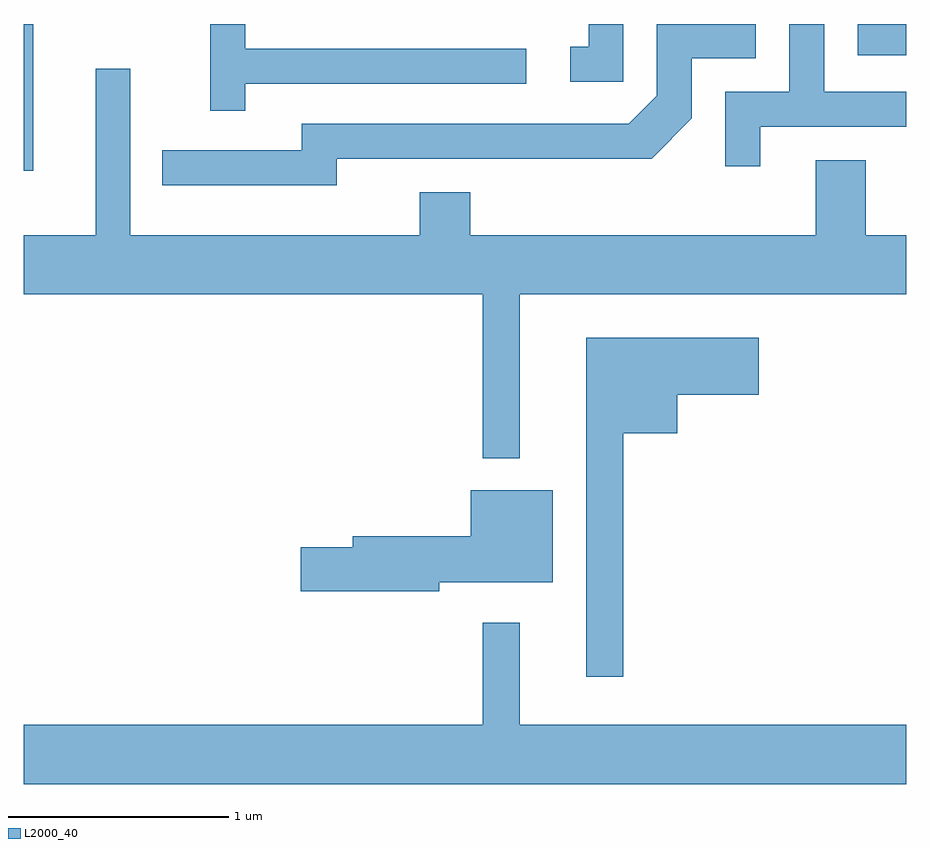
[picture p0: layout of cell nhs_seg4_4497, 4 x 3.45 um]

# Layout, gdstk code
import gdstk
lib = gdstk.Library(unit=1e-6, precision=1e-09)
def R(c, l, rs):  # rectangles x0, y0, x1, y1
    for r in rs: c.add(gdstk.rectangle(r[:2], r[2:], *l))
def P(c, l, *ps):  # polygons
    for p in ps: c.add(gdstk.Polygon(p, *l))
L2000_40 = (2000, 40)

nhs_seg4_4497 = lib.new_cell('nhs_seg4_4497')
R(nhs_seg4_4497, L2000_40, [(317.611,1275.316,317.654,1275.982), (321.391,1275.841,321.611,1275.982)])
P(nhs_seg4_4497, L2000_40, [(319.029,1275.371),(320.457,1275.371),(320.639,1275.554),(320.639,1275.826),(320.929,1275.826),(320.929,1275.982),(320.481,1275.982),(320.481,1275.657),(320.354,1275.529),(318.871,1275.529),(318.871,1275.409),(318.238,1275.409),(318.238,1275.251),(319.029,1275.251)],
  [(320.329,1275.982),(320.171,1275.982),(320.171,1275.879),(320.088,1275.879),(320.088,1275.721),(320.329,1275.721)],
  [(318.614,1275.711),(319.888,1275.711),(319.888,1275.869),(318.614,1275.869),(318.614,1275.982),(318.456,1275.982),(318.456,1275.588),(318.614,1275.588)],
  [(320.949,1275.516),(321.611,1275.516),(321.611,1275.674),(321.239,1275.674),(321.239,1275.982),(321.081,1275.982),(321.081,1275.674),(320.791,1275.674),(320.791,1275.338),(320.949,1275.338)],
  [(319.859,1274.756),(321.611,1274.756),(321.611,1275.024),(321.429,1275.024),(321.429,1275.364),(321.201,1275.364),(321.201,1275.024),(319.634,1275.024),(319.634,1275.219),(319.406,1275.219),(319.406,1275.024),(318.094,1275.024),(318.094,1275.778),(317.936,1275.778),(317.936,1275.024),(317.611,1275.024),(317.611,1274.756),(319.691,1274.756),(319.691,1274.013),(319.859,1274.013)],
  [(320.329,1274.126),(320.574,1274.126),(320.574,1274.301),(320.944,1274.301),(320.944,1274.559),(320.161,1274.559),(320.161,1273.023),(320.329,1273.023)],
  [(319.494,1273.451),(320.009,1273.451),(320.009,1273.869),(319.636,1273.869),(319.636,1273.659),(319.101,1273.659),(319.101,1273.609),(318.866,1273.609),(318.866,1273.411),(319.494,1273.411)],
  [(321.611,1272.804),(319.859,1272.804),(319.859,1273.268),(319.691,1273.268),(319.691,1272.804),(317.611,1272.804),(317.611,1272.536),(321.611,1272.536)])

lib.write_gds('nhs_seg4_4497.gds')
